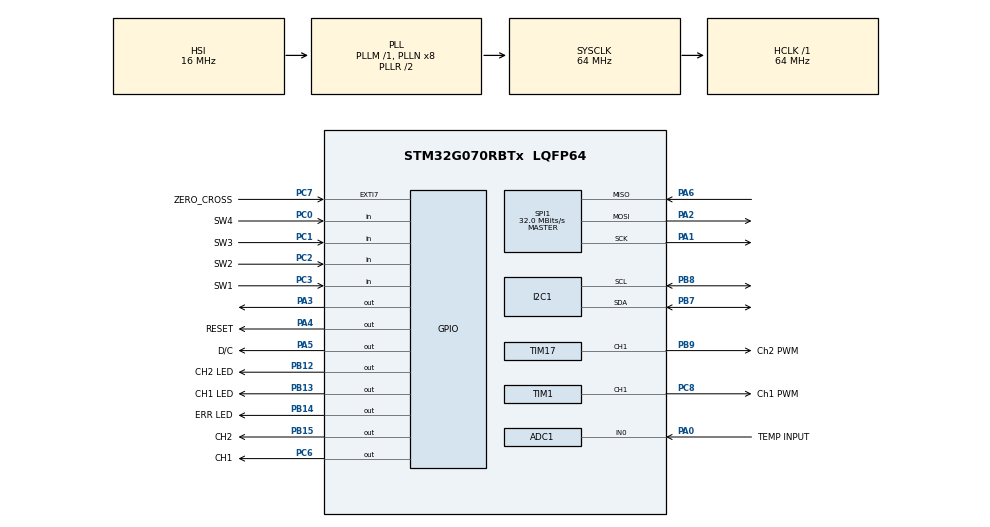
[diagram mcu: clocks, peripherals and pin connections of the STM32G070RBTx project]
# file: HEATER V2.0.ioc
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ADC1.Channel-2\#ChannelRegularConversion=ADC_CHANNEL_0
ADC1.NbrOfConversionFlag=1
ADC1.Rank-2\#ChannelRegularConversion=1
ADC1.SamplingTime-2\#ChannelRegularConversion=ADC_SAMPLINGTIME_COMMON_1
ADC1.SelectedChannel=ADC_CHANNEL_0
ADC1.master=1
I2C1.Timing=0x10B17DB5
Mcu.Family=STM32G0
Mcu.Name=STM32G070RBTx
Mcu.Package=LQFP64
NVIC.EXTI4_15_IRQn=true\:0\:0\:false\:false\:true\:true\:true\:true
PA0.GPIO_Label=TEMP INPUT
PA0.Mode=IN0
PA0.Signal=ADC1_IN0
PA1.Mode=Full_Duplex_Master
PA1.Signal=SPI1_SCK
PA2.Mode=Full_Duplex_Master
PA2.Signal=SPI1_MOSI
PA3.Signal=GPIO_Output
PA4.GPIO_Label=RESET
PA4.Signal=GPIO_Output
PA5.GPIO_Label=D/C
PA5.Signal=GPIO_Output
PA6.Mode=Full_Duplex_Master
PA6.Signal=SPI1_MISO
PB12.GPIO_Label=CH2 LED
PB12.Signal=GPIO_Output
PB13.GPIO_Label=CH1 LED
PB13.Signal=GPIO_Output
PB14.GPIO_Label=ERR LED
PB14.Signal=GPIO_Output
PB15.GPIO_Label=CH2
PB15.Signal=GPIO_Output
PB7.Mode=I2C
PB7.Signal=I2C1_SDA
PB8.Mode=I2C
PB8.Signal=I2C1_SCL
PB9.GPIO_Label=Ch2 PWM
PB9.Signal=S_TIM17_CH1
PC0.GPIO_Label=SW4
PC0.GPIO_PuPd=GPIO_PULLUP
PC0.Signal=GPIO_Input
PC1.GPIO_Label=SW3
PC1.GPIO_PuPd=GPIO_PULLUP
PC1.Signal=GPIO_Input
PC2.GPIO_Label=SW2
PC2.GPIO_PuPd=GPIO_PULLUP
PC2.Signal=GPIO_Input
PC3.GPIO_Label=SW1
PC3.GPIO_PuPd=GPIO_PULLUP
PC3.Signal=GPIO_Input
PC6.GPIO_Label=CH1
PC6.Signal=GPIO_Output
PC7.GPIO_Label=ZERO_CROSS
PC7.GPIO_ModeDefaultEXTI=GPIO_MODE_IT_RISING
PC7.GPIO_PuPd=GPIO_NOPULL
PC7.Signal=GPXTI7
PC8.GPIO_Label=Ch1 PWM
PC8.Signal=S_TIM1_CH1
ProjectManager.HeapSize=0x200
ProjectManager.StackSize=0x400
ProjectManager.TargetToolchain=STM32CubeIDE
RCC.ADCFreq_Value=64000000
RCC.AHBFreq_Value=64000000
RCC.CortexFreq_Value=64000000
RCC.EXTERNAL_CLOCK_VALUE=48000
RCC.HCLKFreq_Value=64000000
RCC.HSE_VALUE=8000000
RCC.HSI_VALUE=16000000
RCC.LSE_VALUE=32768
RCC.SYSCLKFreq_VALUE=64000000
RCC.SYSCLKSource=RCC_SYSCLKSOURCE_PLLCLK
RCC.VCOOutputFreq_Value=128000000
SH.S_TIM17_CH1.0=TIM17_CH1,PWM Generation1 CH1
SH.S_TIM1_CH1.0=TIM1_CH1,PWM Generation1 CH1
SPI1.CalculateBaudRate=32.0 MBits/s
SPI1.DataSize=SPI_DATASIZE_8BIT
SPI1.Direction=SPI_DIRECTION_2LINES
SPI1.Mode=SPI_MODE_MASTER
SPI1.VirtualType=VM_MASTER
TIM1.Channel-PWM\ Generation1\ CH1=TIM_CHANNEL_1
TIM17.Channel=TIM_CHANNEL_1
VP_TIM15_VS_ClockSourceINT.Mode=Enable_Timer
VP_TIM17_VS_ClockSourceINT.Mode=Enable_Timer
VP_TIM3_VS_ClockSourceINT.Mode=Enable_Timer
board=custom

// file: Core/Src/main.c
/* USER CODE BEGIN Header */
/**
 ******************************************************************************
 * @file           : main.c
 * @brief          : Main program body
 ******************************************************************************
 */
/* USER CODE END Header */
#include "main.h"

/* USER CODE BEGIN Includes */
#include "lcd.h"
#include "keys.h"
#include "temp.h"
#include "dimmer.h"
#include "control.h"
#include "fan.h"
#include "ui.h"
#include "settings.h"
#include <stdio.h>
#include "stdbool.h"
/* USER CODE END Includes */

ADC_HandleTypeDef hadc1;

I2C_HandleTypeDef hi2c1;

SPI_HandleTypeDef hspi1;

TIM_HandleTypeDef htim1;
TIM_HandleTypeDef htim17;

/* USER CODE BEGIN PV */
static uint8_t overtemp = 0;      /* 0 = ok, 1 = over temperature, 2 = sensor */
static uint8_t overtemp_cnt = 0;  /* consecutive 100 ms cycles above the limit */
TIM_HandleTypeDef htim3;
TIM_HandleTypeDef htim15;
bool ZERO = false;
/* Debug: raw ADC value from PA0 (thermocouple front-end via INA826).
 * Updated every 100ms control cycle. Watch this in the debugger:
 *   0    = 0V at ADC input  (cold / no thermocouple)
 *   4095 = 3.3V             (saturated, ~527C)
 * Typical room-temp reading with cold junction ≈ 50..100 counts.
 *
 * dbg_adc_raw   : single raw conversion (noisy, for hardware check only)
 * dbg_adc_filt  : moving-average of last 16 raw samples (stable, use this)
 * dbg_adc_mv    : dbg_adc_filt converted to millivolts at PA0 pin (0..3300)
 * dbg_tc_emf_uv : EMF seen at thermocouple terminals in microvolts
 *                 = (dbg_adc_mv / INA_GAIN) including cold-junction add
 *                 expected range: ~0 uV cold .. ~8000 uV at 200 C (type K)
 * dbg_hot_c     : final computed temperature in °C × 10  (e.g. 1234 = 123.4 C)
 *                 same value shown on LCD, handy to compare against thermometer
 */
volatile uint16_t dbg_adc_raw  = 0;   /* latest single raw ADC count  0..4095 */
volatile uint16_t dbg_adc_filt = 0;   /* 16-sample moving average              */
volatile uint16_t dbg_adc_mv    = 0;   /* millivolts at PA0             0..3300  */
volatile int32_t  dbg_tc_emf_uv = 0;  /* thermocouple EMF in µV (incl. CJ)    */
volatile int16_t  dbg_hot_c     = 0;  /* temperature × 10, instantaneous      */
volatile int16_t  dbg_hot_avg   = 0;  /* temperature × 10, 8-sample moving avg */
/* USER CODE END PV */

void SystemClock_Config(void);
static void MX_GPIO_Init(void);
static void MX_ADC1_Init(void);
static void MX_I2C1_Init(void);
static void MX_SPI1_Init(void);
static void MX_TIM1_Init(void);
static void MX_TIM17_Init(void);
static void MX_TIM3_Init(void);
static void MX_TIM15_Init(void);
/* USER CODE BEGIN PFP */
void HAL_TIM_PeriodElapsedCallback(TIM_HandleTypeDef *htim) {
	if (htim->Instance == TIM3) {
		Dimmer_TickISR();
	}
}

/* STM32G0's HAL does NOT call HAL_GPIO_EXTI_Callback() from the interrupt:
 HAL_GPIO_EXTI_IRQHandler() calls HAL_GPIO_EXTI_Rising_Callback() and
 HAL_GPIO_EXTI_Falling_Callback() instead, and both of those are empty weak
 stubs in the driver. Overriding HAL_GPIO_EXTI_Callback only compiles and
 then never runs -- that is exactly why the breakpoint there was never hit.
 Only the RISING edge is used: the H11AA1 fires once per half-cycle and using
 both edges would call ZeroCross() twice, halving the effective period and
 breaking the phase-angle table. */
void HAL_GPIO_EXTI_Rising_Callback(uint16_t GPIO_Pin) {
	if (GPIO_Pin == ZERO_CROSS_Pin)
		Dimmer_ZeroCross();
}

void HAL_GPIO_EXTI_Falling_Callback(uint16_t GPIO_Pin) {
	/* Intentionally empty: only rising edge triggers the dimmer. */
	(void)GPIO_Pin;
}
/* USER CODE END PFP */

int main(void) {

	/* MCU Configuration--------------------------------------------------------*/

	/* Reset of all peripherals, Initializes the Flash interface and the Systick. */
	HAL_Init();

	/* Configure the system clock */
	SystemClock_Config();

	/* Initialize all configured peripherals */
	MX_GPIO_Init();
	MX_ADC1_Init();
	MX_I2C1_Init();
	MX_SPI1_Init();
	MX_TIM1_Init();
	MX_TIM3_Init();
	MX_TIM15_Init();
	MX_TIM17_Init();
	/* USER CODE BEGIN 2 */
	/* Everything below sits inside USER CODE on purpose: CubeMX keeps these
	 sections on every "Generate Code", so a regeneration cannot wipe the
	 start-up. The .ioc carries the same settings; repeating them here also
	 keeps a build made from an older .ioc working. */

	/* LCD control pins PA3=CS, PA4=RESET, PA5=D/C as plain outputs. PA1/PA2
	 are SPI1_SCK / SPI1_MOSI and are configured by LCD_Init(). */
	GPIO_InitTypeDef gi = { 0 };
	gi.Mode = GPIO_MODE_OUTPUT_PP;
	gi.Pull = GPIO_NOPULL;
	gi.Speed = GPIO_SPEED_FREQ_HIGH;
	gi.Pin = GPIO_PIN_3 | GPIO_PIN_4 | GPIO_PIN_5;
	HAL_GPIO_Init(GPIOA, &gi);

	/* The two triac gate signals (CH1 = PC6, CH2 = PB15 on this build) must be
	 ordinary GPIO outputs. If CubeMX puts them back on a timer channel they
	 become alternate-function pins, HAL_GPIO_WritePin() stops reaching the
	 MOC3021 and neither channel fires at all. */

	gi.Pin = CH1_Pin;
	HAL_GPIO_Init(CH1_GPIO_Port, &gi);
	gi.Pin = CH2_Pin;
	HAL_GPIO_Init(CH2_GPIO_Port, &gi);
	HAL_GPIO_WritePin(CH1_GPIO_Port, CH1_Pin, GPIO_PIN_RESET);
	HAL_GPIO_WritePin(CH2_GPIO_Port, CH2_Pin, GPIO_PIN_RESET);
	/* LEDs are active-LOW, so HIGH = off. Repeated here (not only in the
	   generated MX_GPIO_Init) because CubeMX would otherwise restore the old
	   RESET level and every LED would light during the splash. */
	HAL_GPIO_WritePin(GPIOB, ERR_LED_Pin | CH1_LED_Pin | CH2_LED_Pin,
			GPIO_PIN_SET);

	/* keys PC0..PC3: internal pull-ups, a floating pin must never look like a
	 press */
	gi.Pin = GPIO_PIN_0 | SW3_Pin | SW2_Pin | SW1_Pin;
	gi.Mode = GPIO_MODE_INPUT;
	gi.Pull = GPIO_PULLUP;
	HAL_GPIO_Init(GPIOC, &gi);

	/* Zero-cross input on PC7. The SYSCFG clock MUST be on before the EXTI
	 port selector is written: HAL_GPIO_Init() writes EXTI->EXTICR but this
	 HAL revision never enables that clock itself, so the write is silently
	 dropped and line 7 stays routed to PA7 -- the pin toggles happily and
	 no interrupt is ever generated. Doing it here as well makes the line
	 survive any CubeMX regenerate. */
	__HAL_RCC_SYSCFG_CLK_ENABLE();
//	gi.Pin = ZERO_CROSS_Pin;
//	gi.Mode = GPIO_MODE_IT_RISING_FALLING;
//	gi.Pull = GPIO_NOPULL;
//	HAL_GPIO_Init(ZERO_CROSS_GPIO_Port, &gi);
////	EXTI->RPR1 = ZERO_CROSS_Pin; /* drop a stale pending edge */
////	EXTI->FPR1 = ZERO_CROSS_Pin;
//	HAL_NVIC_SetPriority(EXTI4_15_IRQn, 0, 0);
//	HAL_NVIC_EnableIRQ(EXTI4_15_IRQn);

	/* TIM17 (ENABLE2/PB9, box fan): its clock comes from HAL_TIM_Base_MspInit,
	 this keeps the PWM alive whatever the generated init does. */
	__HAL_RCC_TIM17_CLK_ENABLE();

	/* TIM3 = 50 us dimmer time base, derived from the live APB clock so a
	 clock-tree change cannot shift the firing angle. */
	RCC_ClkInitTypeDef clock_cfg;
	uint32_t flash_latency;
	HAL_RCC_GetClockConfig(&clock_cfg, &flash_latency);
	uint32_t tim_clk = HAL_RCC_GetPCLK1Freq();
	if (clock_cfg.APB1CLKDivider != RCC_HCLK_DIV1)
		tim_clk *= 2UL;
	__HAL_RCC_TIM3_CLK_ENABLE();
	HAL_TIM_Base_Stop_IT(&htim3);
	htim3.Instance = TIM3;
	htim3.Init.Prescaler = (tim_clk / 1000000UL) - 1UL; /* 1 us tick */
	htim3.Init.CounterMode = TIM_COUNTERMODE_UP;
	htim3.Init.Period = 49; /* 50 x 1 us */
	htim3.Init.ClockDivision = TIM_CLOCKDIVISION_DIV1;
	htim3.Init.AutoReloadPreload = TIM_AUTORELOAD_PRELOAD_DISABLE;
	if (HAL_TIM_Base_Init(&htim3) != HAL_OK)
		Error_Handler();
	/* TIM3 (50 us tick) and the zero-cross EXTI both call schedule_half().
	   With the tick at a lower priority the edge ISR could preempt it in the
	   middle of the half-cycle setup and arm the same channel twice. Equal
	   priorities on Cortex-M0+ mean they can never nest, which is exactly
	   what the shared state needs. */
	HAL_NVIC_SetPriority(TIM3_IRQn, 0, 0);
	HAL_NVIC_EnableIRQ(TIM3_IRQn);
	HAL_NVIC_SetPriority(EXTI4_15_IRQn, 0, 0);
	HAL_NVIC_EnableIRQ(EXTI4_15_IRQn);

	/* Dimmer state must be ready BEFORE the timer can call the ISR: both the
	   tick and the zero-cross callback dereference it. Starting the timer
	   first left the first few milliseconds running on reset values. */
	Dimmer_Init();
	if (HAL_TIM_Base_Start_IT(&htim3) != HAL_OK)
		Error_Handler();

	/* The display comes up first so any later failure is visible on screen. */
	Keys_Init();
	LCD_Init();
	UI_Splash(); /* boot logo, then the UI takes over */
	Fan_Init();
	Temp_Init();
	Control_Init();
	UI_Init();

	HAL_GPIO_WritePin(CH1_GPIO_Port, CH1_Pin, GPIO_PIN_RESET);
	HAL_GPIO_WritePin(CH2_GPIO_Port, CH2_Pin, GPIO_PIN_RESET);
	/* USER CODE END 2 */

	/* Infinite loop */
	/* USER CODE BEGIN WHILE */
	while (1) {
		/* USER CODE END WHILE *//* USER CODE BEGIN 3 */
		if (HAL_GPIO_ReadPin(GPIOC, GPIO_PIN_7))
			ZERO = true;
		if (!HAL_GPIO_ReadPin(GPIOC, GPIO_PIN_7))
			ZERO = false;

		uint32_t now = HAL_GetTick();
		static uint32_t t_amb = 0, t_ctrl = 0;
		static float amb = 25.0f; /* cold junction temperature */
		static float hot = 25.0f;

		UI_HandleKeys();

		/* the SHT40 needs ~9 ms for a conversion, so once a second is plenty;
		 a failed read keeps the last good value. A single I2C frame can
		 still come back corrupt, and the cold-junction term feeds every
		 temperature reading, so a value that jumps more than 5 C in one
		 second is ignored. Five such readings in a row means the ambient
		 really did change (or the sensor was just powered), so the filter
		 re-primes instead of locking itself out for ever. */
		if ((now - t_amb) >= 1000UL) {
			static uint8_t amb_bad;
			t_amb = now;
			float amb_try;
			if (Temp_ReadAmbient(&amb_try) == 0 && amb_try > -40.0f
					&& amb_try < 100.0f) {
				if (amb_try > amb + 5.0f || amb_try < amb - 5.0f) {
					if (++amb_bad >= 5) { amb = amb_try; amb_bad = 0; }
				} else {
					amb_bad = 0;
					amb += 0.2f * (amb_try - amb);
				}
			}
		}

		/* the thermal loop runs on its own 100 ms grid, independent of how
		 long the LCD repaint takes */
		if ((now - t_ctrl) >= 100UL) {
			t_ctrl = now;
			hot = Temp_ReadHot(amb);

			/* --- debug ADC monitor ---
			 * 16-sample moving average of raw PA0 counts.
			 * No filtering beyond accumulation — this is intentionally
			 * separate from the trimmed-mean + deglitch inside temp.c so
			 * we can observe the raw hardware noise here. */
			{
				static uint32_t acc = 0;
				static uint8_t  acc_n = 0;
				static uint16_t buf16[16];
				static uint8_t  idx = 0;

				uint16_t s = Temp_ReadADC();
				dbg_adc_raw = s;

				acc -= buf16[idx];
				buf16[idx] = s;
				acc += s;
				idx = (idx + 1) & 0x0Fu;
				if (acc_n < 16) acc_n++;

				dbg_adc_filt = (uint16_t)(acc / acc_n);
				/* millivolts at PA0: count/4095 * 3300mV */
				dbg_adc_mv = (uint16_t)((uint32_t)dbg_adc_filt * 3300UL / 4095UL);

				/* EMF at thermocouple wires in uV:
				 *   PA0_mv -> subtract the 7 mV front-end offset -> / INA_GAIN
				 *            = amplifier input (= TC hot-cold EMF)
				 *   + cold junction EMF (from SHT40 ambient reading)
				 * INA_GAIN and TC_OFFSET_MV come from temp.h and are the
				 * values measured on this board (25C->7mV, 450C->1250mV),
				 * NOT the schematic's nominal 150.7. Compare dbg_tc_emf_uv
				 * against K-type: 100C->4096uV, 200C->8138uV, 450C->18550uV. */
				float v_pa0_mv = (float)dbg_adc_filt * 3300.0f / 4095.0f;
				float tc_emf_mv = (v_pa0_mv - TC_OFFSET_MV) / INA_GAIN;
				/* add cold-junction EMF (µV) */
				float cj_mv = 0.03970f * amb + 1.21e-5f * amb * amb;
				dbg_tc_emf_uv = (int32_t)((tc_emf_mv + cj_mv) * 1000.0f);

				/* temperature from the same path used for control */
				dbg_hot_c = (int16_t)(hot * 10.0f + 0.5f);

				/* 8-sample moving average of temperature (smoothed display) */
				{
					static int32_t tacc = 0;
					static int16_t tbuf[8] = {0};
					static uint8_t tidx = 0;
					tacc -= tbuf[tidx];
					tbuf[tidx] = dbg_hot_c;
					tacc += dbg_hot_c;
					tidx = (tidx + 1) & 0x07u;
					dbg_hot_avg = (int16_t)(tacc / 8);
				}
			}

			float sp = UI_GetSetpoint();

			if (Control_GetFault() != CTRL_FAULT_NONE) {
				/* the loop detected that power does not produce heat: wrong or
				 disconnected thermocouple. The controller already holds the
				 output at 0; the user re-arms by toggling HEATER off and on. */
				overtemp = 2;
				overtemp_cnt = 0;
			} else {
				if (overtemp == 2)
					overtemp = 0;
				/* A setpoint at or below HEATER_MIN_SP_C (25.0 C) means "OFF":
				 the heater must not be treated as armed, otherwise a warm
				 residual temperature would raise ERR while the user has it
				 switched off. The absolute 520C limit always applies.
				 *
				 * A single 100 ms sample can still jump on a mains burst even
				 * after the filtering in temp.c, and tripping on one sample
				 * turns a transient into a visible fault. Three consecutive
				 * cycles above the limit are required; a real over-temperature
				 * still stops the element within 300 ms. */
				if ((Control_GetEnabled() && sp > HEATER_MIN_SP_C && hot > sp + 40.0f)
						|| hot > 520.0f) {
					if (overtemp_cnt < 3)
						overtemp_cnt++;
					if (overtemp_cnt >= 3) {
						overtemp = 1;
						Control_SetEnabled(0);
					}
				} else {
					overtemp_cnt = 0;
					if (overtemp == 1 && hot < sp + 20.0f) {
						overtemp = 0;
						/* restore the user's own choice instead of always
						 * re-arming, but only if not in manual mode (manual
						 * bypasses the PID) */
						if (!UI_GetHeaterManual())
							Control_SetEnabled(UI_GetEnabled());
					}
				}
			}

			/* In manual mode the PID is bypassed completely. Running it would
			   only call Dimmer_SetHeater(0) every tick and fight the manual
			   value written below. */
			if (!UI_GetHeaterManual())
				Control_Update(hot, sp, amb);
		}

		/* --- effective CH1 duty: one source of truth -----------------------
		 * Manual override wins over the PID, an over-temperature or sensor
		 * fault wins over both. Writing this every pass (not only on the
		 * 100 ms control tick) is what keeps the dimmer, the LCD and the LED
		 * in agreement. Before, the UI and the LED showed the PID output
		 * while the dimmer was driven by the manual value, so a manual
		 * percentage looked as if it did nothing. */
		float heater_duty;
		if (overtemp) {
			heater_duty = 0.0f;
		} else if (UI_GetHeaterManual()) {
			heater_duty = (float)UI_GetHeaterManualPct();
		} else {
			heater_duty = Control_GetHeaterDuty();
		}
		Dimmer_SetHeaterFine(heater_duty);
		uint8_t heater_pct = (uint8_t)(heater_duty + 0.5f);

		/* In AUTO the heater fan follows the heater (manual included, so a
		   manual duty cannot cook the element with no airflow); the aux fan
		   is always manual. */
		Fan_Update(heater_pct > 0);

		uint8_t iron_pct = Dimmer_GetIron();
		uint8_t fan_pct = Fan_GetSpeed(FAN_CH0);
		uint8_t fan2_pct = Fan_GetSpeed(FAN_CH1);

		/* LEDs (active-low: pin LOW = LED on)
		 * ERR_LED  = PB14: on while overtemp or fault
		 * CH1_LED  = PB13: on while the heater is driven
		 * CH2_LED  = PB12: on while the iron is driven */
		HAL_GPIO_WritePin(ERR_LED_GPIO_Port, ERR_LED_Pin,
				overtemp ? GPIO_PIN_RESET : GPIO_PIN_SET);
		HAL_GPIO_WritePin(CH1_LED_GPIO_Port, CH1_LED_Pin,
				heater_pct > 0 ? GPIO_PIN_RESET : GPIO_PIN_SET);
		HAL_GPIO_WritePin(CH2_LED_GPIO_Port, CH2_LED_Pin,
				iron_pct > 0 ? GPIO_PIN_RESET : GPIO_PIN_SET);

		UI_Update(hot, heater_pct, iron_pct, fan_pct, fan2_pct, overtemp);

		HAL_Delay(25);
		/* USER CODE END 3 */
	}
}
void SystemClock_Config(void) {
	RCC_OscInitTypeDef RCC_OscInitStruct = { 0 };
	RCC_ClkInitTypeDef RCC_ClkInitStruct = { 0 };

	/** Configure the main internal regulator output voltage
	 */
	HAL_PWREx_ControlVoltageScaling(PWR_REGULATOR_VOLTAGE_SCALE1);

	/** Initializes the RCC Oscillators according to the specified parameters
	 * in the RCC_OscInitTypeDef structure.
	 */
	RCC_OscInitStruct.OscillatorType = RCC_OSCILLATORTYPE_HSI;
	RCC_OscInitStruct.HSIState = RCC_HSI_ON;
	RCC_OscInitStruct.HSIDiv = RCC_HSI_DIV1;
	RCC_OscInitStruct.HSICalibrationValue = RCC_HSICALIBRATION_DEFAULT;
	RCC_OscInitStruct.PLL.PLLState = RCC_PLL_ON;
	RCC_OscInitStruct.PLL.PLLSource = RCC_PLLSOURCE_HSI;
	RCC_OscInitStruct.PLL.PLLM = RCC_PLLM_DIV1;
	RCC_OscInitStruct.PLL.PLLN = 8;
	RCC_OscInitStruct.PLL.PLLP = RCC_PLLP_DIV2;
	RCC_OscInitStruct.PLL.PLLR = RCC_PLLR_DIV2;
	if (HAL_RCC_OscConfig(&RCC_OscInitStruct) != HAL_OK) {
		Error_Handler();
	}

	/** Initializes the CPU, AHB and APB buses clocks
	 */
	RCC_ClkInitStruct.ClockType = RCC_CLOCKTYPE_HCLK | RCC_CLOCKTYPE_SYSCLK
			| RCC_CLOCKTYPE_PCLK1;
	RCC_ClkInitStruct.SYSCLKSource = RCC_SYSCLKSOURCE_PLLCLK;
	RCC_ClkInitStruct.AHBCLKDivider = RCC_SYSCLK_DIV1;
	RCC_ClkInitStruct.APB1CLKDivider = RCC_HCLK_DIV1;

	if (HAL_RCC_ClockConfig(&RCC_ClkInitStruct, FLASH_LATENCY_2) != HAL_OK) {
		Error_Handler();
	}
}

static void MX_ADC1_Init(void) {

	ADC_ChannelConfTypeDef sConfig = { 0 };

	/** Configure the global features of the ADC (Clock, Resolution, Data Alignment and number of conversion)
	 */
	hadc1.Instance = ADC1;
	hadc1.Init.ClockPrescaler = ADC_CLOCK_SYNC_PCLK_DIV2;
	hadc1.Init.Resolution = ADC_RESOLUTION_12B;
	hadc1.Init.DataAlign = ADC_DATAALIGN_RIGHT;
	hadc1.Init.ScanConvMode = ADC_SCAN_DISABLE;
	hadc1.Init.EOCSelection = ADC_EOC_SINGLE_CONV;
	hadc1.Init.LowPowerAutoWait = DISABLE;
	hadc1.Init.LowPowerAutoPowerOff = DISABLE;
	hadc1.Init.ContinuousConvMode = DISABLE;
	hadc1.Init.NbrOfConversion = 1;
	hadc1.Init.DiscontinuousConvMode = DISABLE;
	hadc1.Init.ExternalTrigConv = ADC_SOFTWARE_START;
	hadc1.Init.ExternalTrigConvEdge = ADC_EXTERNALTRIGCONVEDGE_NONE;
	hadc1.Init.DMAContinuousRequests = DISABLE;
	hadc1.Init.Overrun = ADC_OVR_DATA_PRESERVED;
	hadc1.Init.SamplingTimeCommon1 = ADC_SAMPLETIME_1CYCLE_5;
	hadc1.Init.SamplingTimeCommon2 = ADC_SAMPLETIME_1CYCLE_5;
	hadc1.Init.OversamplingMode = DISABLE;
	hadc1.Init.TriggerFrequencyMode = ADC_TRIGGER_FREQ_HIGH;
	if (HAL_ADC_Init(&hadc1) != HAL_OK) {
		Error_Handler();
	}

	/** Configure Regular Channel
	 */
	sConfig.Channel = ADC_CHANNEL_0;
	sConfig.Rank = ADC_REGULAR_RANK_1;
	sConfig.SamplingTime = ADC_SAMPLINGTIME_COMMON_1;
	if (HAL_ADC_ConfigChannel(&hadc1, &sConfig) != HAL_OK) {
		Error_Handler();
	}

}

static void MX_I2C1_Init(void) {

	hi2c1.Instance = I2C1;
	hi2c1.Init.Timing = 0xC0100F14;
	hi2c1.Init.OwnAddress1 = 0;
	hi2c1.Init.AddressingMode = I2C_ADDRESSINGMODE_7BIT;
	hi2c1.Init.DualAddressMode = I2C_DUALADDRESS_DISABLE;
	hi2c1.Init.OwnAddress2 = 0;
	hi2c1.Init.OwnAddress2Masks = I2C_OA2_NOMASK;
	hi2c1.Init.GeneralCallMode = I2C_GENERALCALL_DISABLE;
	hi2c1.Init.NoStretchMode = I2C_NOSTRETCH_DISABLE;
	if (HAL_I2C_Init(&hi2c1) != HAL_OK) {
		Error_Handler();
	}

	/** Configure Analogue filter
	 */
	if (HAL_I2CEx_ConfigAnalogFilter(&hi2c1, I2C_ANALOGFILTER_ENABLE)
			!= HAL_OK) {
		Error_Handler();
	}

	/** Configure Digital filter
	 */
	if (HAL_I2CEx_ConfigDigitalFilter(&hi2c1, 0) != HAL_OK) {
		Error_Handler();
	}

}

static void MX_SPI1_Init(void) {

	/* SPI1 parameter configuration*/
	hspi1.Instance = SPI1;
	hspi1.Init.Mode = SPI_MODE_MASTER;
	hspi1.Init.Direction = SPI_DIRECTION_2LINES;
	hspi1.Init.DataSize = SPI_DATASIZE_8BIT;
	hspi1.Init.CLKPolarity = SPI_POLARITY_LOW;
	hspi1.Init.CLKPhase = SPI_PHASE_1EDGE;
	hspi1.Init.NSS = SPI_NSS_SOFT;
	hspi1.Init.BaudRatePrescaler = SPI_BAUDRATEPRESCALER_256;
	hspi1.Init.FirstBit = SPI_FIRSTBIT_MSB;
	hspi1.Init.TIMode = SPI_TIMODE_DISABLE;
	hspi1.Init.CRCCalculation = SPI_CRCCALCULATION_DISABLE;
	hspi1.Init.CRCPolynomial = 7;
	hspi1.Init.CRCLength = SPI_CRC_LENGTH_DATASIZE;
	hspi1.Init.NSSPMode = SPI_NSS_PULSE_ENABLE;
	if (HAL_SPI_Init(&hspi1) != HAL_OK) {
		Error_Handler();
	}

}

static void MX_TIM1_Init(void) {

	TIM_MasterConfigTypeDef sMasterConfig = { 0 };
	TIM_OC_InitTypeDef sConfigOC = { 0 };
	TIM_BreakDeadTimeConfigTypeDef sBreakDeadTimeConfig = { 0 };

	htim1.Instance = TIM1;
	htim1.Init.Prescaler = 0;
	htim1.Init.CounterMode = TIM_COUNTERMODE_UP;
	htim1.Init.Period = 65535;
	htim1.Init.ClockDivision = TIM_CLOCKDIVISION_DIV1;
	htim1.Init.RepetitionCounter = 0;
	htim1.Init.AutoReloadPreload = TIM_AUTORELOAD_PRELOAD_DISABLE;
	if (HAL_TIM_PWM_Init(&htim1) != HAL_OK) {
		Error_Handler();
	}
	sMasterConfig.MasterOutputTrigger = TIM_TRGO_RESET;
	sMasterConfig.MasterOutputTrigger2 = TIM_TRGO2_RESET;
	sMasterConfig.MasterSlaveMode = TIM_MASTERSLAVEMODE_DISABLE;
	if (HAL_TIMEx_MasterConfigSynchronization(&htim1, &sMasterConfig)
			!= HAL_OK) {
		Error_Handler();
	}
	sConfigOC.OCMode = TIM_OCMODE_PWM1;
	sConfigOC.Pulse = 0;
	sConfigOC.OCPolarity = TIM_OCPOLARITY_HIGH;
	sConfigOC.OCNPolarity = TIM_OCNPOLARITY_HIGH;
	sConfigOC.OCFastMode = TIM_OCFAST_DISABLE;
	sConfigOC.OCIdleState = TIM_OCIDLESTATE_RESET;
	sConfigOC.OCNIdleState = TIM_OCNIDLESTATE_RESET;
	if (HAL_TIM_PWM_ConfigChannel(&htim1, &sConfigOC, TIM_CHANNEL_1)
			!= HAL_OK) {
		Error_Handler();
	}
	sBreakDeadTimeConfig.OffStateRunMode = TIM_OSSR_DISABLE;
	sBreakDeadTimeConfig.OffStateIDLEMode = TIM_OSSI_DISABLE;
	sBreakDeadTimeConfig.LockLevel = TIM_LOCKLEVEL_OFF;
	sBreakDeadTimeConfig.DeadTime = 0;
	sBreakDeadTimeConfig.BreakState = TIM_BREAK_DISABLE;
	sBreakDeadTimeConfig.BreakPolarity = TIM_BREAKPOLARITY_HIGH;
	sBreakDeadTimeConfig.BreakFilter = 0;
	sBreakDeadTimeConfig.BreakAFMode = TIM_BREAK_AFMODE_INPUT;
	sBreakDeadTimeConfig.Break2State = TIM_BREAK2_DISABLE;
	sBreakDeadTimeConfig.Break2Polarity = TIM_BREAK2POLARITY_HIGH;
	sBreakDeadTimeConfig.Break2Filter = 0;
	sBreakDeadTimeConfig.Break2AFMode = TIM_BREAK_AFMODE_INPUT;
	sBreakDeadTimeConfig.AutomaticOutput = TIM_AUTOMATICOUTPUT_DISABLE;
	if (HAL_TIMEx_ConfigBreakDeadTime(&htim1, &sBreakDeadTimeConfig)
			!= HAL_OK) {
		Error_Handler();
	}
	HAL_TIM_MspPostInit(&htim1);

}

static void MX_TIM3_Init(void) {

	htim3.Instance = TIM3;
	htim3.Init.Prescaler = 49;
	htim3.Init.CounterMode = TIM_COUNTERMODE_UP;
	htim3.Init.Period = 49;
	htim3.Init.ClockDivision = TIM_CLOCKDIVISION_DIV1;
	htim3.Init.AutoReloadPreload = TIM_AUTORELOAD_PRELOAD_DISABLE;
	if (HAL_TIM_Base_Init(&htim3) != HAL_OK) {
		Error_Handler();
	}

}

static void MX_TIM15_Init(void) {

	htim15.Instance = TIM15;
	htim15.Init.Prescaler = 0;
	htim15.Init.CounterMode = TIM_COUNTERMODE_UP;
	htim15.Init.Period = 65535;
	htim15.Init.ClockDivision = TIM_CLOCKDIVISION_DIV1;
	htim15.Init.RepetitionCounter = 0;
	htim15.Init.AutoReloadPreload = TIM_AUTORELOAD_PRELOAD_DISABLE;
	if (HAL_TIM_Base_Init(&htim15) != HAL_OK) {
		Error_Handler();
	}

}

static void MX_TIM17_Init(void) {

	TIM_OC_InitTypeDef sConfigOC = { 0 };
	TIM_BreakDeadTimeConfigTypeDef sBreakDeadTimeConfig = { 0 };

	htim17.Instance = TIM17;
	htim17.Init.Prescaler = 0;
	htim17.Init.CounterMode = TIM_COUNTERMODE_UP;
	htim17.Init.Period = 65535;
	htim17.Init.ClockDivision = TIM_CLOCKDIVISION_DIV1;
	htim17.Init.RepetitionCounter = 0;
	htim17.Init.AutoReloadPreload = TIM_AUTORELOAD_PRELOAD_DISABLE;
	if (HAL_TIM_Base_Init(&htim17) != HAL_OK) {
		Error_Handler();
	}
	if (HAL_TIM_PWM_Init(&htim17) != HAL_OK) {
		Error_Handler();
	}
	sConfigOC.OCMode = TIM_OCMODE_PWM1;
	sConfigOC.Pulse = 0;
	sConfigOC.OCPolarity = TIM_OCPOLARITY_HIGH;
	sConfigOC.OCNPolarity = TIM_OCNPOLARITY_HIGH;
	sConfigOC.OCFastMode = TIM_OCFAST_DISABLE;
	sConfigOC.OCIdleState = TIM_OCIDLESTATE_RESET;
	sConfigOC.OCNIdleState = TIM_OCNIDLESTATE_RESET;
	if (HAL_TIM_PWM_ConfigChannel(&htim17, &sConfigOC, TIM_CHANNEL_1)
			!= HAL_OK) {
		Error_Handler();
	}
	sBreakDeadTimeConfig.OffStateRunMode = TIM_OSSR_DISABLE;
	sBreakDeadTimeConfig.OffStateIDLEMode = TIM_OSSI_DISABLE;
	sBreakDeadTimeConfig.LockLevel = TIM_LOCKLEVEL_OFF;
	sBreakDeadTimeConfig.DeadTime = 0;
	sBreakDeadTimeConfig.BreakState = TIM_BREAK_DISABLE;
	sBreakDeadTimeConfig.BreakPolarity = TIM_BREAKPOLARITY_HIGH;
	sBreakDeadTimeConfig.BreakFilter = 0;
	sBreakDeadTimeConfig.AutomaticOutput = TIM_AUTOMATICOUTPUT_DISABLE;
	if (HAL_TIMEx_ConfigBreakDeadTime(&htim17, &sBreakDeadTimeConfig)
			!= HAL_OK) {
		Error_Handler();
	}
	HAL_TIM_MspPostInit(&htim17);

}

static void MX_GPIO_Init(void) {
	GPIO_InitTypeDef GPIO_InitStruct = { 0 };

	/* GPIO Ports Clock Enable */
	__HAL_RCC_GPIOC_CLK_ENABLE();
	__HAL_RCC_GPIOA_CLK_ENABLE();
	__HAL_RCC_GPIOB_CLK_ENABLE();

	/* EXTICR is written through the SYSCFG block: without this clock the
	 port selector below is dropped and EXTI line 7 keeps pointing at PA7. */
	__HAL_RCC_SYSCFG_CLK_ENABLE();

	/*Configure GPIO pin Output Level */
	HAL_GPIO_WritePin(GPIOA, GPIO_PIN_3 | RESET_Pin | D_C_Pin, GPIO_PIN_RESET);

	/*Configure GPIO pin Output Level */
	HAL_GPIO_WritePin(CH1_GPIO_Port, CH1_Pin, GPIO_PIN_RESET);

	/*Configure GPIO pin Output Level */
	HAL_GPIO_WritePin(CH2_GPIO_Port, CH2_Pin, GPIO_PIN_RESET);

	/* All three LEDs are active-LOW: drive the pins HIGH at boot so the
	   board does not flash every LED while the UI is still starting. */
	HAL_GPIO_WritePin(GPIOB, ERR_LED_Pin | CH1_LED_Pin | CH2_LED_Pin,
			GPIO_PIN_SET);

	/*Configure GPIO pins : PC0 SW3_Pin SW2_Pin SW1_Pin */
	GPIO_InitStruct.Pin = GPIO_PIN_0 | SW3_Pin | SW2_Pin | SW1_Pin;
	GPIO_InitStruct.Mode = GPIO_MODE_INPUT;
	GPIO_InitStruct.Pull = GPIO_PULLUP;
	HAL_GPIO_Init(GPIOC, &GPIO_InitStruct);

	/*Configure GPIO pins : PA3 RESET_Pin D_C_Pin */
	GPIO_InitStruct.Pin = GPIO_PIN_3 | RESET_Pin | D_C_Pin;
	GPIO_InitStruct.Mode = GPIO_MODE_OUTPUT_PP;
	GPIO_InitStruct.Pull = GPIO_NOPULL;
	GPIO_InitStruct.Speed = GPIO_SPEED_FREQ_LOW;
	HAL_GPIO_Init(GPIOA, &GPIO_InitStruct);

	/*Configure GPIO pins : ERR_LED_Pin CH1_LED_Pin CH2_LED_Pin */
	GPIO_InitStruct.Pin = ERR_LED_Pin | CH1_LED_Pin | CH2_LED_Pin;
	GPIO_InitStruct.Mode = GPIO_MODE_OUTPUT_PP;
	GPIO_InitStruct.Pull = GPIO_NOPULL;
	GPIO_InitStruct.Speed = GPIO_SPEED_FREQ_LOW;
	HAL_GPIO_Init(GPIOB, &GPIO_InitStruct);

	/*Configure GPIO pin : CH1_Pin (triac gate, plain output) */
	GPIO_InitStruct.Pin = CH1_Pin;
	GPIO_InitStruct.Mode = GPIO_MODE_OUTPUT_PP;
	GPIO_InitStruct.Pull = GPIO_NOPULL;
	GPIO_InitStruct.Speed = GPIO_SPEED_FREQ_LOW;
	HAL_GPIO_Init(CH1_GPIO_Port, &GPIO_InitStruct);

	/*Configure GPIO pin : CH2_Pin (triac gate, plain output)
	 * The Pin field must be rewritten: the previous call left CH1_Pin in it,
	 * so CH2 (PB15) was never configured as an output and the iron gate
	 * stayed in its reset state. */
	GPIO_InitStruct.Pin = CH2_Pin;
	HAL_GPIO_Init(CH2_GPIO_Port, &GPIO_InitStruct);

	/*Configure GPIO pin : ZERO_CROSS_Pin
	 * Rising edge only: the H11AA1 output is HIGH around the zero crossing
	 * (collector pulled up, phototransistor conducting near 0 V), so its
	 * rising edge is the true zero point. Using both edges called the dimmer
	 * twice per half-cycle and halved the effective period.
	 * The board already has an external 10 k pull-up on the collector, so the
	 * internal one is redundant and is left off. */
	GPIO_InitStruct.Pin = ZERO_CROSS_Pin;
	GPIO_InitStruct.Mode = GPIO_MODE_IT_RISING_FALLING;
	GPIO_InitStruct.Pull = GPIO_NOPULL;
	HAL_GPIO_Init(ZERO_CROSS_GPIO_Port, &GPIO_InitStruct);

	/* EXTI interrupt init*/
	HAL_NVIC_SetPriority(EXTI4_15_IRQn, 0, 0);
	HAL_NVIC_EnableIRQ(EXTI4_15_IRQn);

}

void Error_Handler(void) {
	__disable_irq();
	while (1) {
	}
}
